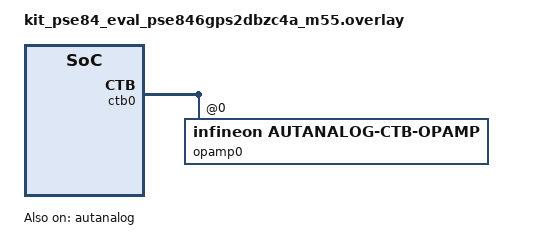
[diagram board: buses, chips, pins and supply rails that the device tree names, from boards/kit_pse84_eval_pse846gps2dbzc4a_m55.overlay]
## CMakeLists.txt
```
# Copyright 2025 NXP
# SPDX-License-Identifier: Apache-2.0

cmake_minimum_required(VERSION 3.28.0)

find_package(Zephyr REQUIRED HINTS $ENV{ZEPHYR_BASE})
project(opamp_api)

FILE(GLOB app_sources src/*.c)
target_sources(app PRIVATE ${app_sources})
```

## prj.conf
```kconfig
# Copyright 2025 NXP
# SPDX-License-Identifier: Apache-2.0

CONFIG_TEST=y
CONFIG_COMPARATOR=y
```

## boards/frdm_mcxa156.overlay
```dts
/*
 * Copyright 2025 NXP
 *
 * SPDX-License-Identifier: Apache-2.0
 */

&opamp0 {
	non-inverting-reference = "Input1";
	enable-measure-reference;
	enable-measure-output;
	functional-mode = "differential";
	programmable-gain = "OPAMP_GAIN_1",
			    "OPAMP_GAIN_2",
			    "OPAMP_GAIN_4",
			    "OPAMP_GAIN_8",
			    "OPAMP_GAIN_16",
			    "OPAMP_GAIN_33",
			    "OPAMP_GAIN_64";
};
```

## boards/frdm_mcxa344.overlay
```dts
/*
 * Copyright 2026 NXP
 *
 * SPDX-License-Identifier: Apache-2.0
 */

&opamp0 {
	bias-current = <1>;
	compensation-capcitor = <0>;
	functional-mode = "differential";
};
```

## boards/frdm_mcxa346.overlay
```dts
/*
 * Copyright 2025 NXP
 *
 * SPDX-License-Identifier: Apache-2.0
 */

&opamp0 {
	bias-current = <1>;
	compensation-capcitor = <0>;
	is-reference-source;
	functional-mode = "follower";
};

&opamp1 {
	bias-current = <1>;
	compensation-capcitor = <0>;
	functional-mode = "inverting";
};
```

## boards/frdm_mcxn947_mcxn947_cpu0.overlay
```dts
/*
 * Copyright 2025 NXP
 *
 * SPDX-License-Identifier: Apache-2.0
 */

&opamp0 {
	non-inverting-reference = "Input1";
	enable-measure-reference;
	enable-measure-output;
	functional-mode = "non_inverting";
	programmable-gain = "OPAMP_GAIN_1",
			    "OPAMP_GAIN_2",
			    "OPAMP_GAIN_4",
			    "OPAMP_GAIN_8",
			    "OPAMP_GAIN_16",
			    "OPAMP_GAIN_33",
			    "OPAMP_GAIN_64";
};
```

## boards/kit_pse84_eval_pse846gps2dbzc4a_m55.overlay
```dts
/*
 * SPDX-FileCopyrightText: Copyright (c) 2026 Infineon Technologies AG,
 * SPDX-FileCopyrightText: or an affiliate of Infineon Technologies AG. All rights reserved.
 *
 * SPDX-License-Identifier: Apache-2.0
 */

#include <zephyr/dt-bindings/opamp/infineon-autanalog-ctb.h>
#include <zephyr/dt-bindings/mfd/infineon-autanalog.h>

/ {
	zephyr,user {
		opamp = <&opamp0>;
	};
};

&autanalog {
	status = "okay";
};

&ctb0 {
	status = "okay";

	opamp0: opamp@0 {
		compatible = "infineon,autanalog-ctb-opamp";
		reg = <0>;
		power-mode = <IFX_AUTANALOG_CTB_OA_PWR_ULTRA_LOW>;
		topology = <IFX_AUTANALOG_CTB_OA_TOPO_PGA>;
		/* OA0=P14.0, OA1=P14.5 */
		ninv-inp-pin = <IFX_AUTANALOG_CTB_OA_NINV_PIN_OA0_P0_OA1_P5>;
		/* OA0=P14.1, OA1=P14.4 */
		inv-inp-pin = <IFX_AUTANALOG_CTB_OA_INV_PIN_OA0_P1_OA1_P4>;
		gain = <IFX_AUTANALOG_CTB_OA_GAIN_1_00>;
		out-to-pin; /* OA0=P14.2, OA1=P14.3 */
		functional-mode = "non_inverting";
	};
};
```

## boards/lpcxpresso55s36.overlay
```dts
/*
 * Copyright 2025 NXP
 *
 * SPDX-License-Identifier: Apache-2.0
 */

&opamp0 {
	non-inverting-reference = "Input1";
	enable-measure-reference;
	enable-measure-output;
	functional-mode = "inverting";
	programmable-gain = "OPAMP_GAIN_1",
			    "OPAMP_GAIN_2",
			    "OPAMP_GAIN_4",
			    "OPAMP_GAIN_8",
			    "OPAMP_GAIN_16",
			    "OPAMP_GAIN_33",
			    "OPAMP_GAIN_64";
};
```

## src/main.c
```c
/*
 * Copyright 2025 NXP
 *
 * SPDX-License-Identifier: Apache-2.0
 */

int main(void)
{
	return 0;
}
```
